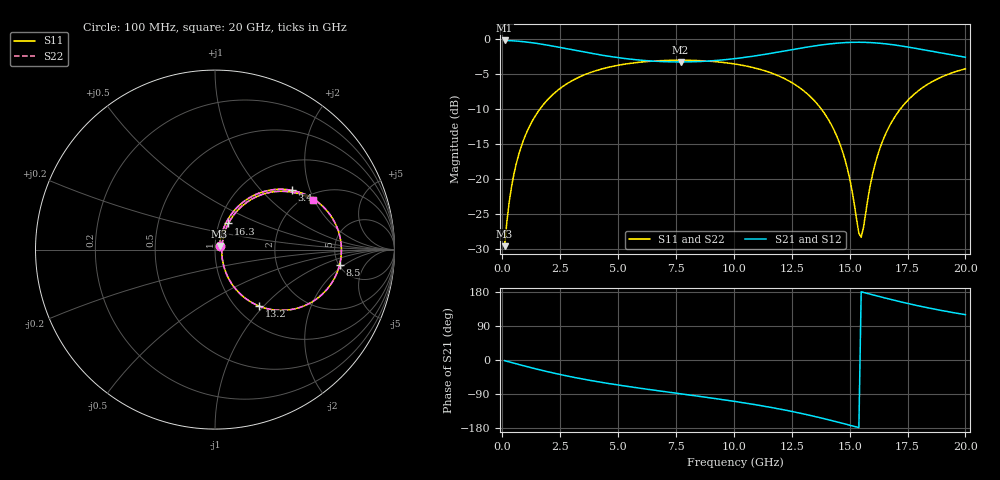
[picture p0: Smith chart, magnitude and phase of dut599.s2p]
! Touchstone file exported from HFSS 2026.1.0
!  File:  C:/ffzhzh/LocalFiles/Ansys_Project_Files/temp_train_TSV_RDL_599_1783121926_50312.aedt
!  Generated:  07:50:30 AM Jul  4, 2026
!  Design:  TSV_RDL
!  Project:  temp_train_TSV_RDL_599_1783121926_50312
! Variables:
!  h_bsmrdl = 4.85um
!  h_ox = 20um
!  h_rdl = 5um
!  h_sub = 51.05um
!  h_tmrdl = 5um
!  h_tsv = 51.05um
!  h_via = 3um
!  l_bsmrdl = 913.07um
!  l_sub = 4199.64um
!  l_tmrdl = 247.55um
!  m_sub = 200um
!  pitch = 54.66um
!  r_tsv = 9.43um
!  s_tmrdl = 10um
!  w_bsmrdl = 10.38um
!  w_sub = 500um
!  w_tmrdl = 13.03um
!  x_tsv_center1 = 254.065um
!  x_tsv_center2 = 1177.515um
!  x_tsv_center3 = 1438.095um
!  x_tsv_center4 = 2361.545um
!  x_tsv_center5 = 2622.125um
!  x_tsv_center6 = 3545.575um
# GHz S MA R 50.000000
! Terminal data exported
! Port[1] = TM_RDL1_1_T1
! Port[2] = TM_RDL5_1_T1
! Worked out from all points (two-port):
!   200 points, 100 MHz to 20 GHz, reference 50 ohm
!   highest |S21| = -0.22 dB at 100 MHz (marker M1); lowest = -3.3 dB at 7.7 GHz (marker M2)
!   |S21| within 3 dB of the highest: start of sweep to 6.774 GHz; 8.581 GHz to end of sweep
!   lowest |S11| = -29.6 dB at 100 MHz (marker M3), VSWR 1.07, Z = 52.6 + j2.17 ohm
!   |S11| at or under -10 dB: start of sweep to 1.633 GHz; 13.77 GHz to 17.2 GHz (3.424 GHz wide, 22.1 % of centre)
!   |S22| runs from -29.6 to -3.0 dB; largest |S21 - S12| = 1.9e-14
!   S11 on the Smith chart (normalised r, x): 100 MHz: 1.05, +0.04; 3.4 GHz: 1.62, +1.51; 8.5 GHz: 5.09, -1.66; 13.2 GHz: 1.26, -0.95; 16.3 GHz: 1.11, +0.33; 20 GHz: 2.23, +1.95
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0.1  0.03299 38.7  0.9746 -1.7  0.9746 -1.7  0.03299 38.7
! Gamma 0 0 0 0
! Port Impedance 50 0 50 0
0.3  0.06844 62.8  0.9722 -5.1  0.9722 -5.1  0.06844 62.8
0.5  0.1078 67.5  0.9681 -8.4  0.9681 -8.4  0.1078 67.5
1.1  0.2233 64.9  0.9476 -18.0  0.9476 -18.0  0.2233 64.9
2  0.3739 54.2  0.8995 -31.5  0.8995 -31.5  0.3739 54.2
3.4  0.5407 37.7  0.813 -49.4  0.813 -49.4  0.5407 37.7
3.5  0.5497 36.6  0.8072 -50.5  0.8072 -50.5  0.5497 36.6
6.8  0.6985 6.6  0.6897 -81.7  0.6897 -81.7  0.6985 6.6
7.7  0.7043 -0.5  0.6844 -89.2  0.6844 -89.2  0.7043 -0.5
8.5  0.6995 -6.9  0.689 -95.8  0.689 -95.8  0.6995 -6.9
10.1  0.6592 -20.2  0.7245 -109.9  0.7245 -109.9  0.6592 -20.2
13.2  0.4012 -51.8  0.8757 -144.8  0.8757 -144.8  0.4012 -51.9
13.4  0.3729 -54.1  0.8863 -147.6  0.8863 -147.6  0.3729 -54.1
14.6  0.1738 -64.8  0.936 -165.6  0.936 -165.6  0.1738 -64.9
15  0.1008 -61.5  0.944 -172.0  0.944 -172.0  0.1007 -61.6
15.4  0.04077 -21.5  0.9464 -178.4  0.9464 -178.4  0.04063 -21.6
15.5  0.03818 5.6  0.9461 180.0  0.9461 180.0  0.03802 5.6
15.9  0.09122 57.8  0.9412 173.5  0.9412 173.5  0.09113 57.9
16.3  0.1636 62.8  0.9309 167.2  0.9309 167.2  0.1635 62.8
16.7  0.2345 60.9  0.9158 161.0  0.9158 161.0  0.2345 60.9
18  0.4298 47.3  0.8469 142.5  0.8469 142.5  0.4298 47.3
20  0.6113 26.7  0.7392 119.6  0.7392 119.6  0.6113 26.7
